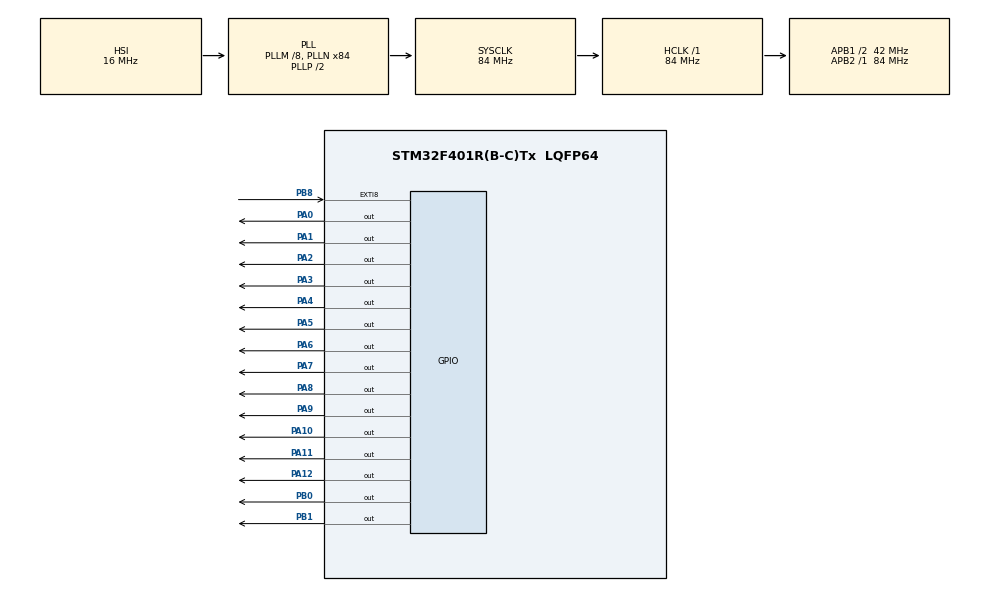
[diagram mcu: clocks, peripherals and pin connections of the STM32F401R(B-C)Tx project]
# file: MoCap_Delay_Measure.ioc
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Mcu.Family=STM32F4
Mcu.Name=STM32F401R(B-C)Tx
Mcu.Package=LQFP64
NVIC.EXTI9_5_IRQn=true\:0\:0\:false\:false\:true\:true\:true\:true
NVIC.PriorityGroup=NVIC_PRIORITYGROUP_4
NVIC.TIM1_BRK_TIM9_IRQn=true\:0\:0\:false\:false\:true\:true\:true\:true
NVIC.TIM1_CC_IRQn=true\:0\:0\:false\:false\:true\:true\:true\:true
NVIC.TIM1_TRG_COM_TIM11_IRQn=true\:0\:0\:false\:false\:true\:true\:true\:true
NVIC.TIM1_UP_TIM10_IRQn=true\:0\:0\:false\:false\:true\:true\:true\:true
PA0-WKUP.Signal=GPIO_Output
PA1.Signal=GPIO_Output
PA10.Signal=GPIO_Output
PA11.Signal=GPIO_Output
PA12.Signal=GPIO_Output
PA13.Mode=Serial_Wire
PA13.Signal=SYS_JTMS-SWDIO
PA14.Mode=Serial_Wire
PA14.Signal=SYS_JTCK-SWCLK
PA2.Signal=GPIO_Output
PA3.Signal=GPIO_Output
PA4.Signal=GPIO_Output
PA5.Signal=GPIO_Output
PA6.Signal=GPIO_Output
PA7.Signal=GPIO_Output
PA8.Signal=GPIO_Output
PA9.Signal=GPIO_Output
PB0.Signal=GPIO_Output
PB1.Signal=GPIO_Output
PB8.GPIO_ModeDefaultEXTI=GPIO_MODE_IT_RISING
PB8.GPIO_PuPd=GPIO_PULLDOWN
PB8.Signal=GPXTI8
PC14-OSC32_IN.Mode=LSE-External-Oscillator
PC14-OSC32_IN.Signal=RCC_OSC32_IN
PC15-OSC32_OUT.Mode=LSE-External-Oscillator
PC15-OSC32_OUT.Signal=RCC_OSC32_OUT
PH0\ -\ OSC_IN.Mode=HSE-External-Oscillator
PH0\ -\ OSC_IN.Signal=RCC_OSC_IN
PH1\ -\ OSC_OUT.Mode=HSE-External-Oscillator
PH1\ -\ OSC_OUT.Signal=RCC_OSC_OUT
ProjectManager.HeapSize=0x200
ProjectManager.StackSize=0x400
ProjectManager.TargetToolchain=STM32CubeIDE
RCC.48MHZClocksFreq_Value=42000000
RCC.AHBFreq_Value=84000000
RCC.APB1CLKDivider=RCC_HCLK_DIV2
RCC.APB1Freq_Value=42000000
RCC.APB1TimFreq_Value=84000000
RCC.APB2Freq_Value=84000000
RCC.APB2TimFreq_Value=84000000
RCC.CortexFreq_Value=84000000
RCC.HCLKFreq_Value=84000000
RCC.HSE_VALUE=25000000
RCC.HSI_VALUE=16000000
RCC.PLLM=8
RCC.PLLN=84
RCC.SYSCLKFreq_VALUE=84000000
RCC.SYSCLKSource=RCC_SYSCLKSOURCE_PLLCLK
RCC.VCOOutputFreq_Value=168000000
TIM1.Period=19
TIM1.Prescaler=8400 - 1
TIM1.TIM_MasterOutputTrigger=TIM_TRGO_UPDATE
VP_TIM1_VS_ClockSourceINT.Mode=Internal
board=custom

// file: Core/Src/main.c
/* USER CODE BEGIN Header */
/**
  ******************************************************************************
  * @file           : main.c
  * @brief          : Main program body
  ******************************************************************************
  * @attention
  *
  * Copyright (c) 2026 STMicroelectronics.
  * All rights reserved.
  *
  * This software is licensed under terms that can be found in the LICENSE file
  * in the root directory of this software component.
  * If no LICENSE file comes with this software, it is provided AS-IS.
  *
  ******************************************************************************
  */
/* USER CODE END Header */
#include "main.h"

/* USER CODE BEGIN Includes */
#define BIT_ARRAY_LEN 				15
#define MAX_VALUE 					((1U << BIT_ARRAY_LEN) - 1)

// States of the device
#define REF_STATE 					0x0001 // All LED light up
#define MEASURE_STATE 				0x0002 // LED constantly turn on and off to show counter value

/* USER CODE END Includes */

TIM_HandleTypeDef htim1;

/* USER CODE BEGIN PV */
volatile uint64_t counter = 0;
volatile uint32_t currentState = REF_STATE;
/* USER CODE END PV */

void SystemClock_Config(void);
static void MX_GPIO_Init(void);
static void MX_TIM1_Init(void);

int main(void)
{

  /* MCU Configuration--------------------------------------------------------*/

  /* Reset of all peripherals, Initializes the Flash interface and the Systick. */
  HAL_Init();

  /* Configure the system clock */
  SystemClock_Config();

  /* Initialize all configured peripherals */
  MX_GPIO_Init();
  MX_TIM1_Init();
  /* USER CODE BEGIN 2 */
  HAL_TIM_Base_Start_IT(&htim1);
  __HAL_TIM_DISABLE_IT(&htim1, TIM_IT_UPDATE);
  counter = 0;
  GPIOA->BSRR = (uint32_t) 0xFFFF;
  GPIOB->BSRR = (uint32_t) 0x0003;
  currentState = REF_STATE;
  /* USER CODE END 2 */

  /* Infinite loop */
  /* USER CODE BEGIN WHILE */
  while (1) {
	  HAL_Delay(2000);
    /* USER CODE END WHILE */
  }
}

void SystemClock_Config(void)
{
  RCC_OscInitTypeDef RCC_OscInitStruct = {0};
  RCC_ClkInitTypeDef RCC_ClkInitStruct = {0};

  /** Configure the main internal regulator output voltage
  */
  __HAL_RCC_PWR_CLK_ENABLE();
  __HAL_PWR_VOLTAGESCALING_CONFIG(PWR_REGULATOR_VOLTAGE_SCALE2);

  /** Initializes the RCC Oscillators according to the specified parameters
  * in the RCC_OscInitTypeDef structure.
  */
  RCC_OscInitStruct.OscillatorType = RCC_OSCILLATORTYPE_HSI;
  RCC_OscInitStruct.HSIState = RCC_HSI_ON;
  RCC_OscInitStruct.HSICalibrationValue = RCC_HSICALIBRATION_DEFAULT;
  RCC_OscInitStruct.PLL.PLLState = RCC_PLL_ON;
  RCC_OscInitStruct.PLL.PLLSource = RCC_PLLSOURCE_HSI;
  RCC_OscInitStruct.PLL.PLLM = 8;
  RCC_OscInitStruct.PLL.PLLN = 84;
  RCC_OscInitStruct.PLL.PLLP = RCC_PLLP_DIV2;
  RCC_OscInitStruct.PLL.PLLQ = 4;
  if (HAL_RCC_OscConfig(&RCC_OscInitStruct) != HAL_OK)
  {
    Error_Handler();
  }

  /** Initializes the CPU, AHB and APB buses clocks
  */
  RCC_ClkInitStruct.ClockType = RCC_CLOCKTYPE_HCLK|RCC_CLOCKTYPE_SYSCLK
                              |RCC_CLOCKTYPE_PCLK1|RCC_CLOCKTYPE_PCLK2;
  RCC_ClkInitStruct.SYSCLKSource = RCC_SYSCLKSOURCE_PLLCLK;
  RCC_ClkInitStruct.AHBCLKDivider = RCC_SYSCLK_DIV1;
  RCC_ClkInitStruct.APB1CLKDivider = RCC_HCLK_DIV2;
  RCC_ClkInitStruct.APB2CLKDivider = RCC_HCLK_DIV1;

  if (HAL_RCC_ClockConfig(&RCC_ClkInitStruct, FLASH_LATENCY_2) != HAL_OK)
  {
    Error_Handler();
  }
}

static void MX_TIM1_Init(void)
{

  TIM_ClockConfigTypeDef sClockSourceConfig = {0};
  TIM_MasterConfigTypeDef sMasterConfig = {0};

  htim1.Instance = TIM1;
  htim1.Init.Prescaler = 8400 - 1;
  htim1.Init.CounterMode = TIM_COUNTERMODE_UP;
  htim1.Init.Period = 19;
  htim1.Init.ClockDivision = TIM_CLOCKDIVISION_DIV1;
  htim1.Init.RepetitionCounter = 0;
  htim1.Init.AutoReloadPreload = TIM_AUTORELOAD_PRELOAD_DISABLE;
  if (HAL_TIM_Base_Init(&htim1) != HAL_OK)
  {
    Error_Handler();
  }
  sClockSourceConfig.ClockSource = TIM_CLOCKSOURCE_INTERNAL;
  if (HAL_TIM_ConfigClockSource(&htim1, &sClockSourceConfig) != HAL_OK)
  {
    Error_Handler();
  }
  sMasterConfig.MasterOutputTrigger = TIM_TRGO_UPDATE;
  sMasterConfig.MasterSlaveMode = TIM_MASTERSLAVEMODE_DISABLE;
  if (HAL_TIMEx_MasterConfigSynchronization(&htim1, &sMasterConfig) != HAL_OK)
  {
    Error_Handler();
  }

}

static void MX_GPIO_Init(void)
{
  GPIO_InitTypeDef GPIO_InitStruct = {0};

  /* GPIO Ports Clock Enable */
  __HAL_RCC_GPIOC_CLK_ENABLE();
  __HAL_RCC_GPIOH_CLK_ENABLE();
  __HAL_RCC_GPIOA_CLK_ENABLE();
  __HAL_RCC_GPIOB_CLK_ENABLE();

  /*Configure GPIO pin Output Level */
  HAL_GPIO_WritePin(GPIOA, GPIO_PIN_0|GPIO_PIN_1|GPIO_PIN_2|GPIO_PIN_3
                          |GPIO_PIN_4|GPIO_PIN_5|GPIO_PIN_6|GPIO_PIN_7
                          |GPIO_PIN_8|GPIO_PIN_9|GPIO_PIN_10|GPIO_PIN_11
                          |GPIO_PIN_12, GPIO_PIN_RESET);

  /*Configure GPIO pin Output Level */
  HAL_GPIO_WritePin(GPIOB, GPIO_PIN_0|GPIO_PIN_1, GPIO_PIN_RESET);

  /*Configure GPIO pins : PA0 PA1 PA2 PA3
                           PA4 PA5 PA6 PA7
                           PA8 PA9 PA10 PA11
                           PA12 */
  GPIO_InitStruct.Pin = GPIO_PIN_0|GPIO_PIN_1|GPIO_PIN_2|GPIO_PIN_3
                          |GPIO_PIN_4|GPIO_PIN_5|GPIO_PIN_6|GPIO_PIN_7
                          |GPIO_PIN_8|GPIO_PIN_9|GPIO_PIN_10|GPIO_PIN_11
                          |GPIO_PIN_12;
  GPIO_InitStruct.Mode = GPIO_MODE_OUTPUT_PP;
  GPIO_InitStruct.Pull = GPIO_NOPULL;
  GPIO_InitStruct.Speed = GPIO_SPEED_FREQ_LOW;
  HAL_GPIO_Init(GPIOA, &GPIO_InitStruct);

  /*Configure GPIO pins : PB0 PB1 */
  GPIO_InitStruct.Pin = GPIO_PIN_0|GPIO_PIN_1;
  GPIO_InitStruct.Mode = GPIO_MODE_OUTPUT_PP;
  GPIO_InitStruct.Pull = GPIO_NOPULL;
  GPIO_InitStruct.Speed = GPIO_SPEED_FREQ_LOW;
  HAL_GPIO_Init(GPIOB, &GPIO_InitStruct);

  /*Configure GPIO pin : PB8 */
  GPIO_InitStruct.Pin = GPIO_PIN_8;
  GPIO_InitStruct.Mode = GPIO_MODE_IT_RISING;
  GPIO_InitStruct.Pull = GPIO_PULLDOWN;
  HAL_GPIO_Init(GPIOB, &GPIO_InitStruct);

  /* EXTI interrupt init*/
  HAL_NVIC_SetPriority(EXTI9_5_IRQn, 0, 0);
  HAL_NVIC_EnableIRQ(EXTI9_5_IRQn);

}

/* USER CODE BEGIN 4 */
void HAL_TIM_PeriodElapsedCallback(TIM_HandleTypeDef *htim) {
	if (currentState == MEASURE_STATE) {
	  if (htim->Instance == TIM1) {
		  uint32_t val_A = counter & 0x1FFF;
		  GPIOA->BSRR = val_A | ((~val_A & 0x1FFF) << 16);
		  uint32_t val_B = (counter >> 13) & 0x0003;
		  GPIOB->BSRR = val_B | ((~val_B & 0x0003) << 16);
		  counter = (counter + 1) & MAX_VALUE;
	  }
	}
}

void HAL_GPIO_EXTI_Callback(uint16_t GPIO_Pin) {
	static uint32_t lastTime = 0;
	uint32_t currentTime = HAL_GetTick();

	if (currentTime - lastTime > 1000) {
		if(GPIO_Pin == GPIO_PIN_8) {
			if (currentState == REF_STATE) {
				currentState = MEASURE_STATE;
				counter = 0;
				GPIOA->BSRR = (uint32_t) (0xFFFF << 16);
				GPIOB->BSRR = (uint32_t) (0x0003 << 16);
				__HAL_TIM_SET_COUNTER(&htim1, 0);
				__HAL_TIM_ENABLE_IT(&htim1, TIM_IT_UPDATE);
			} else {
				__HAL_TIM_DISABLE_IT(&htim1, TIM_IT_UPDATE);
				GPIOA->BSRR = (uint32_t) 0xFFFF;
				GPIOB->BSRR = (uint32_t) 0x0003;
				currentState = REF_STATE;
			}
		}
		lastTime = currentTime;
	}
}

/* USER CODE END 4 */

void Error_Handler(void)
{
  __disable_irq();
  while (1)
  {
  }
}
